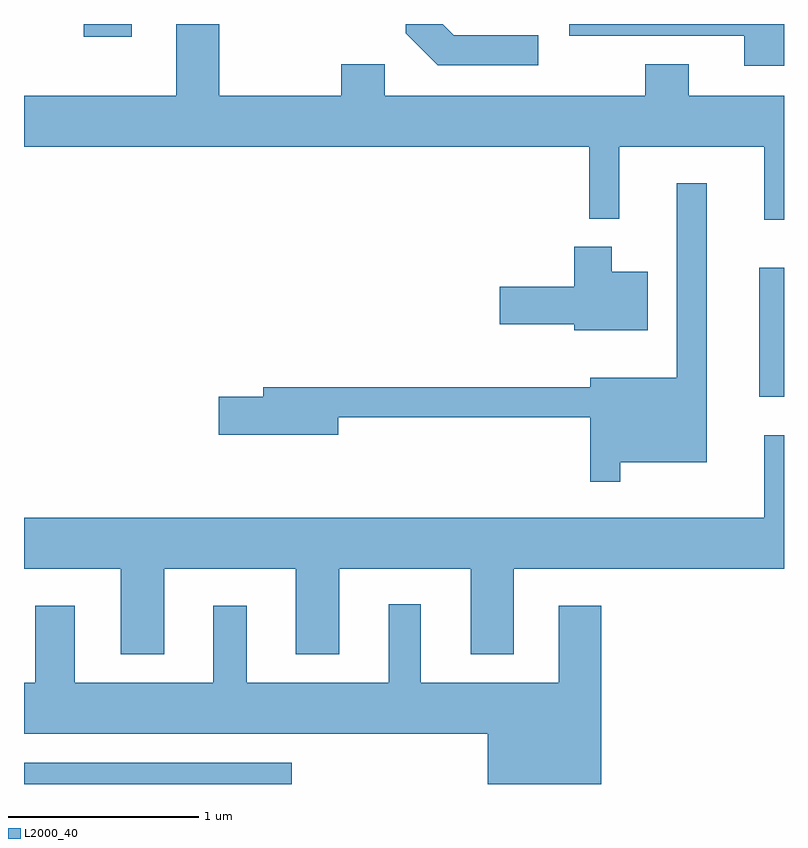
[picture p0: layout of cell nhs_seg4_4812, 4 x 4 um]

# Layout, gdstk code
import gdstk
lib = gdstk.Library(unit=1e-6, precision=1e-09)
def R(c, l, rs):  # rectangles x0, y0, x1, y1
    for r in rs: c.add(gdstk.rectangle(r[:2], r[2:], *l))
def P(c, l, *ps):  # polygons
    for p in ps: c.add(gdstk.Polygon(p, *l))
L2000_40 = (2000, 40)

nhs_seg4_4812 = lib.new_cell('nhs_seg4_4812')
R(nhs_seg4_4812, L2000_40, [(325.611,1357.982,327.019,1358.094), (329.481,1360.021,329.611,1360.699), (325.926,1361.916,326.179,1361.982)])
P(nhs_seg4_4812, L2000_40, [(329.611,1361.604),(329.109,1361.604),(329.109,1361.769),(328.881,1361.769),(328.881,1361.604),(327.509,1361.604),(327.509,1361.769),(327.281,1361.769),(327.281,1361.604),(326.639,1361.604),(326.639,1361.982),(326.411,1361.982),(326.411,1361.604),(325.611,1361.604),(325.611,1361.336),(328.586,1361.336),(328.586,1360.958),(328.744,1360.958),(328.744,1361.336),(329.506,1361.336),(329.506,1360.953),(329.611,1360.953)],
  [(328.318,1361.924),(327.872,1361.924),(327.814,1361.982),(327.621,1361.982),(327.621,1361.934),(327.789,1361.766),(328.318,1361.766)],
  [(329.611,1361.982),(328.481,1361.982),(328.481,1361.921),(329.401,1361.921),(329.401,1361.761),(329.611,1361.761)],
  [(328.749,1359.676),(329.204,1359.676),(329.204,1361.143),(329.046,1361.143),(329.046,1360.119),(328.591,1360.119),(328.591,1360.069),(326.871,1360.069),(326.871,1360.019),(326.636,1360.019),(326.636,1359.821),(327.264,1359.821),(327.264,1359.911),(328.591,1359.911),(328.591,1359.573),(328.749,1359.573)],
  [(328.894,1360.679),(328.704,1360.679),(328.704,1360.809),(328.506,1360.809),(328.506,1360.599),(328.116,1360.599),(328.116,1360.401),(328.506,1360.401),(328.506,1360.371),(328.894,1360.371)],
  [(326.349,1359.116),(327.041,1359.116),(327.041,1358.666),(327.269,1358.666),(327.269,1359.116),(327.961,1359.116),(327.961,1358.666),(328.189,1358.666),(328.189,1359.116),(329.611,1359.116),(329.611,1359.818),(329.506,1359.818),(329.506,1359.384),(325.611,1359.384),(325.611,1359.116),(326.121,1359.116),(326.121,1358.666),(326.349,1358.666)],
  [(328.649,1358.919),(328.426,1358.919),(328.426,1358.514),(327.699,1358.514),(327.699,1358.928),(327.531,1358.928),(327.531,1358.514),(326.784,1358.514),(326.784,1358.919),(326.606,1358.919),(326.606,1358.514),(325.879,1358.514),(325.879,1358.919),(325.671,1358.919),(325.671,1358.514),(325.611,1358.514),(325.611,1358.246),(328.051,1358.246),(328.051,1357.982),(328.649,1357.982)])

lib.write_gds('nhs_seg4_4812.gds')
